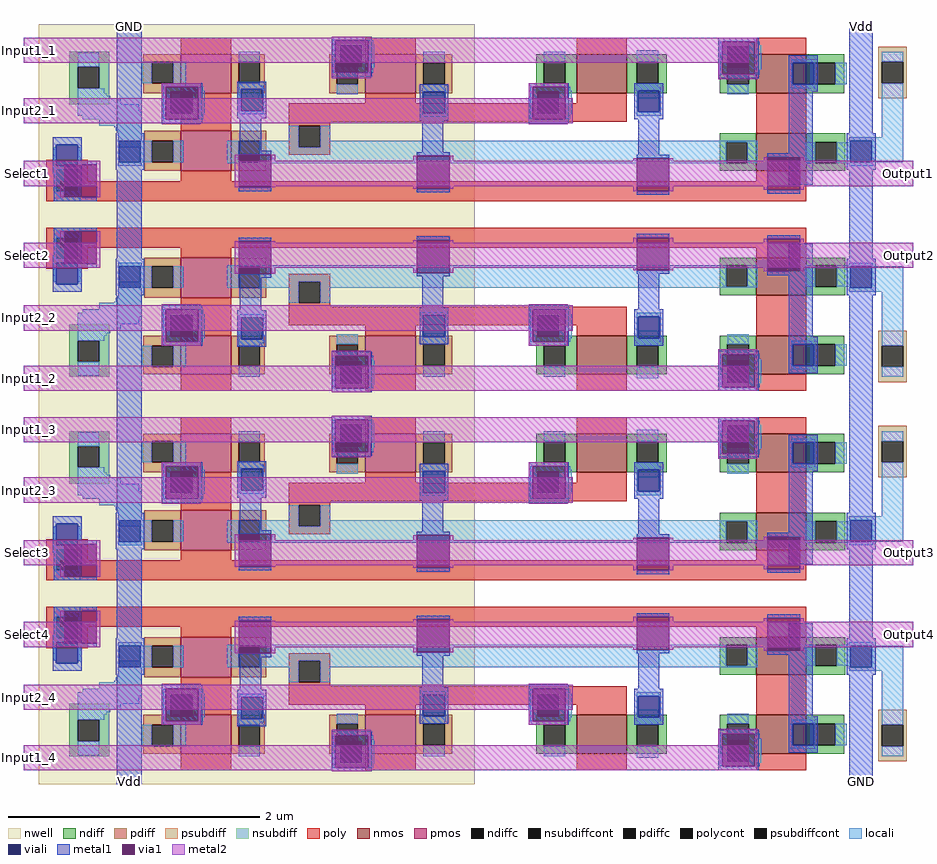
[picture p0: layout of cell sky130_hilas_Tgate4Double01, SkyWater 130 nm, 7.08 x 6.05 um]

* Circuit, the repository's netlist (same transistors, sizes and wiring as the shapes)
* Copyright 2020 The Hilas PDK Authors
* 
* This file is part of HILAS.
* 
* HILAS is free software: you can redistribute it and/or modify
* it under the terms of the GNU Lesser General Public License as published by
* the Free Software Foundation, version 3 of the License.
* 
* HILAS is distributed in the hope that it will be useful,
* but WITHOUT ANY WARRANTY; without even the implied warranty of
* MERCHANTABILITY or FITNESS FOR A PARTICULAR PURPOSE.  See the
* GNU Lesser General Public License for more details.
* 
* You should have received a copy of the GNU Lesser General Public License
* along with HILAS.  If not, see <https://www.gnu.org/licenses/>.
* 
* Licensed under the Lesser General Public License, Version 3.0 (the "License");
* you may not use this file except in compliance with the License.
* You may obtain a copy of the License at
* 
* https://www.gnu.org/licenses/lgpl-3.0.en.html
* 
* Unless required by applicable law or agreed to in writing, software
* distributed under the License is distributed on an "AS IS" BASIS,
* WITHOUT WARRANTIES OR CONDITIONS OF ANY KIND, either express or implied.
* See the License for the specific language governing permissions and
* limitations under the License.
* 
* SPDX-License-Identifier: LGPL-3.0
* 
* 

* NGSPICE file created from sky130_hilas_Tgate4Double01.ext - technology: sky130A

.subckt sky130_hilas_TgateDouble01 a_n40_n314# sky130_hilas_m12m2_4/SUB a_n468_n112#
+ output w_n502_n362# a_290_n314#
X0 output a_n196_n192# a_290_n314# sky130_hilas_m12m2_4/SUB sky130_fd_pr__nfet_01v8 w=310000u l=400000u
X1 output a_n468_n112# a_290_n314# w_n502_n362# sky130_fd_pr__pfet_01v8 w=310000u l=400000u
X2 output a_n196_n192# a_n40_n314# w_n502_n362# sky130_fd_pr__pfet_01v8 w=310000u l=400000u
X3 sky130_hilas_m12m2_4/SUB a_n468_n112# a_n196_n192# sky130_hilas_m12m2_4/SUB sky130_fd_pr__nfet_01v8 w=300000u l=400000u
X4 a_n196_n192# a_n468_n112# w_n502_n362# w_n502_n362# sky130_fd_pr__pfet_01v8 w=320000u l=400000u
X5 output a_n468_n112# a_n40_n314# sky130_hilas_m12m2_4/SUB sky130_fd_pr__nfet_01v8 w=310000u l=400000u
.ends

.subckt sky130_hilas_Tgate4Double01 VPWR INPUT1_1 INPUT2_1 SELECT1 SELECT2 INPUT2_2
+ INPUT1_2 SELECT3 INPUT2_3 SELECT4 INPUT2_4 INPUT1_4 OUTPUT4 OUTPUT3 OUTPUT2 OUTPUT1
Xsky130_hilas_TgateDouble01_0 INPUT1_1 VPWR SELECT1 OUTPUT1 VPWR INPUT2_1 sky130_hilas_TgateDouble01
Xsky130_hilas_TgateDouble01_1 INPUT1_4 VPWR SELECT4 OUTPUT4 VPWR INPUT2_4 sky130_hilas_TgateDouble01
Xsky130_hilas_TgateDouble01_2 Input1_3 VPWR SELECT3 OUTPUT3 VPWR INPUT2_3 sky130_hilas_TgateDouble01
Xsky130_hilas_TgateDouble01_3 INPUT1_2 VPWR SELECT2 OUTPUT2 VPWR INPUT2_2 sky130_hilas_TgateDouble01
.ends

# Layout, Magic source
magic
tech sky130A
<< metal1 >>
rect 38 460 58 464
rect 621 460 640 464
rect 38 -141 58 -137
rect 621 -141 640 -137
<< metal2 >>
rect -36 433 -31 453
rect -36 385 -31 405
rect -36 335 -30 355
rect 665 335 672 355
rect -36 270 -30 290
rect 666 270 672 290
rect -36 220 -31 240
rect -36 172 -31 192
rect -36 131 -31 151
rect -36 83 -31 103
rect -36 33 -30 53
rect 666 33 672 53
rect -36 -32 -30 -12
rect 666 -32 672 -12
rect -36 -82 -31 -62
rect -36 -130 -31 -110
use sky130_hilas_TgateDouble01  sky130_hilas_TgateDouble01_2
transform 1 0 227 0 -1 -19
box -263 -181 445 -29
use sky130_hilas_TgateDouble01  sky130_hilas_TgateDouble01_3
transform 1 0 227 0 1 342
box -263 -181 445 -29
use sky130_hilas_TgateDouble01  sky130_hilas_TgateDouble01_0
transform 1 0 227 0 -1 283
box -263 -181 445 -29
use sky130_hilas_TgateDouble01  sky130_hilas_TgateDouble01_1
transform 1 0 227 0 1 40
box -263 -181 445 -29
<< labels >>
rlabel metal1 621 460 640 464 0 Vdd
port 13 nsew
rlabel metal1 38 460 58 464 0 GND
port 1 nsew ground default
rlabel metal2 665 335 672 355 0 Output1
port 17 nsew
rlabel metal2 666 33 672 53 0 Output3
port 15 nsew
rlabel metal2 666 270 672 290 0 Output2
port 16 nsew
rlabel metal2 666 -32 672 -12 0 Output4
port 14 nsew
rlabel metal2 -36 335 -30 355 0 Select1
port 4 nsew
rlabel metal2 -36 270 -30 290 0 Select2
port 5 nsew
rlabel metal2 -36 33 -30 53 0 Select3
port 8 nsew
rlabel metal2 -36 -32 -30 -12 0 Select4
port 10 nsew
rlabel metal1 621 -141 640 -137 0 GND
port 1 nsew
rlabel metal1 38 -141 58 -137 0 Vdd
port 13 nsew
rlabel metal2 -36 433 -31 453 0 Input1_1
port 2 nsew
rlabel metal2 -36 385 -31 405 0 Input2_1
port 3 nsew
rlabel metal2 -36 172 -31 192 0 Input1_2
port 7 nsew
rlabel metal2 -36 220 -31 240 0 Input2_2
port 6 nsew
rlabel metal2 -36 131 -31 151 0 Input1_3
rlabel metal2 -36 83 -31 103 0 Input2_3
port 9 nsew
rlabel metal2 -36 -82 -31 -62 0 Input2_4
port 11 nsew
rlabel metal2 -36 -130 -31 -110 0 Input1_4
port 12 nsew
<< end >>

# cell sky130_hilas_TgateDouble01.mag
magic
tech sky130A
<< nwell >>
rect -251 -181 96 -29
<< nmos >>
rect 320 -94 360 -64
rect 177 -157 217 -126
rect 320 -157 360 -126
<< pmos >>
rect -138 -96 -98 -64
rect -138 -157 -98 -126
rect 9 -157 49 -126
<< ndiff >>
rect 291 -70 320 -64
rect 291 -87 296 -70
rect 313 -87 320 -70
rect 291 -94 320 -87
rect 360 -70 391 -64
rect 360 -87 367 -70
rect 384 -87 391 -70
rect 360 -94 391 -87
rect 145 -134 177 -126
rect 145 -151 151 -134
rect 168 -151 177 -134
rect 145 -157 177 -151
rect 217 -134 249 -126
rect 217 -151 225 -134
rect 242 -151 249 -134
rect 217 -157 249 -151
rect 291 -133 320 -126
rect 291 -150 297 -133
rect 314 -150 320 -133
rect 291 -157 320 -150
rect 360 -133 390 -126
rect 360 -150 366 -133
rect 383 -150 390 -133
rect 360 -157 390 -150
<< pdiff >>
rect -167 -71 -138 -64
rect -167 -88 -161 -71
rect -144 -88 -138 -71
rect -167 -96 -138 -88
rect -98 -71 -70 -64
rect -98 -88 -92 -71
rect -75 -88 -70 -71
rect -98 -96 -70 -88
rect -168 -134 -138 -126
rect -168 -151 -161 -134
rect -144 -151 -138 -134
rect -168 -157 -138 -151
rect -98 -134 -71 -126
rect -98 -151 -92 -134
rect -75 -151 -71 -134
rect -98 -157 -71 -151
rect -20 -133 9 -126
rect -20 -150 -14 -133
rect 3 -150 9 -133
rect -20 -157 9 -150
rect 49 -133 78 -126
rect 49 -150 55 -133
rect 72 -150 78 -133
rect 49 -157 78 -150
<< ndiffc >>
rect 296 -87 313 -70
rect 367 -87 384 -70
rect 151 -151 168 -134
rect 225 -151 242 -134
rect 297 -150 314 -133
rect 366 -150 383 -133
<< pdiffc >>
rect -161 -88 -144 -71
rect -92 -88 -75 -71
rect -161 -151 -144 -134
rect -92 -151 -75 -134
rect -14 -150 3 -133
rect 55 -150 72 -133
<< psubdiff >>
rect 417 -134 440 -122
rect 417 -151 420 -134
rect 437 -151 440 -134
rect 417 -163 440 -151
<< nsubdiff >>
rect -227 -130 -195 -117
rect -227 -147 -220 -130
rect -203 -147 -195 -130
rect -227 -159 -195 -147
<< psubdiffcont >>
rect 420 -151 437 -134
<< nsubdiffcont >>
rect -220 -147 -203 -130
<< poly >>
rect -234 -56 360 -40
rect -138 -64 -98 -56
rect 320 -64 360 -56
rect -52 -83 -19 -77
rect -138 -126 -98 -96
rect -52 -100 -44 -83
rect -27 -100 -19 -83
rect -52 -103 -19 -100
rect -52 -118 217 -103
rect 9 -126 49 -118
rect 177 -126 217 -118
rect 320 -126 360 -94
rect -138 -170 -98 -157
rect 9 -170 49 -157
rect 177 -170 217 -157
rect 320 -170 360 -157
<< polycont >>
rect -44 -100 -27 -83
<< locali >>
rect -101 -71 296 -70
rect -171 -83 -161 -71
rect -188 -88 -161 -83
rect -144 -88 -136 -71
rect -101 -88 -92 -71
rect -75 -83 296 -71
rect -75 -88 -44 -83
rect -188 -96 -169 -88
rect -190 -99 -169 -96
rect -191 -100 -169 -99
rect -52 -100 -44 -88
rect -27 -87 296 -83
rect 313 -87 321 -70
rect 359 -87 367 -70
rect 384 -87 394 -70
rect -27 -88 321 -87
rect -27 -100 -19 -88
rect 412 -91 437 -71
rect -203 -105 -169 -100
rect -216 -108 -169 -105
rect -220 -111 -169 -108
rect -220 -117 -171 -111
rect -220 -122 -186 -117
rect -220 -124 -194 -122
rect -92 -124 -76 -110
rect -220 -126 -197 -124
rect -220 -130 -199 -126
rect -152 -134 -134 -130
rect -220 -158 -203 -147
rect -169 -151 -161 -134
rect -144 -151 -134 -134
rect -92 -134 -75 -124
rect -92 -159 -75 -151
rect -14 -133 3 -125
rect -14 -155 3 -150
rect 55 -133 72 -124
rect 55 -159 72 -150
rect 151 -134 168 -129
rect 151 -159 168 -151
rect 225 -134 242 -122
rect 225 -160 242 -151
rect 297 -133 314 -125
rect 363 -150 366 -133
rect 383 -150 392 -133
rect 420 -134 437 -91
rect 297 -155 314 -150
rect 420 -159 437 -151
<< metal1 >>
rect -189 -181 -169 -29
rect -91 -107 -74 -80
rect 54 -105 71 -78
rect 226 -108 243 -74
rect 346 -128 365 -53
rect 394 -181 413 -29
<< metal2 >>
rect -263 -72 -202 -52
rect -93 -72 445 -52
rect -263 -122 174 -102
rect -263 -170 314 -150
use sky130_hilas_m12m2  sky130_hilas_m12m2_0
transform 1 0 -225 0 1 -62
box -9 -10 23 22
use sky130_hilas_poly2m1  sky130_hilas_poly2m1_0
transform 1 0 -236 0 1 -65
box -9 -26 24 25
use sky130_hilas_li2m1  sky130_hilas_li2m1_2
transform 1 0 -180 0 1 -86
box -10 -8 13 21
use sky130_hilas_li2m2  sky130_hilas_li2m2_0
transform 1 0 -139 0 1 -119
box -14 -15 20 18
use sky130_hilas_m12m2  sky130_hilas_m12m2_1
transform 1 0 -86 0 1 -70
box -9 -10 23 22
use sky130_hilas_li2m1  sky130_hilas_li2m1_0
transform 1 0 -83 0 1 -127
box -10 -8 13 21
use sky130_hilas_li2m2  sky130_hilas_li2m2_2
transform 1 0 -4 0 1 -156
box -14 -15 20 18
use sky130_hilas_m12m2  sky130_hilas_m12m2_2
transform 1 0 56 0 1 -69
box -9 -10 23 22
use sky130_hilas_li2m1  sky130_hilas_li2m1_3
transform 1 0 62 0 1 -125
box -10 -8 13 21
use sky130_hilas_li2m2  sky130_hilas_li2m2_1
transform 1 0 153 0 1 -119
box -14 -15 20 18
use sky130_hilas_m12m2  sky130_hilas_m12m2_4
transform 1 0 231 0 1 -67
box -9 -10 23 22
use sky130_hilas_li2m1  sky130_hilas_li2m1_4
transform 1 0 233 0 1 -126
box -10 -8 13 21
use sky130_hilas_m12m2  sky130_hilas_m12m2_3
transform 1 0 335 0 1 -68
box -9 -10 23 22
use sky130_hilas_li2m2  sky130_hilas_li2m2_3
transform 1 0 304 0 1 -155
box -14 -15 20 18
use sky130_hilas_li2m1  sky130_hilas_li2m1_5
transform 1 0 356 0 1 -148
box -10 -8 13 21
use sky130_hilas_li2m1  sky130_hilas_li2m1_1
transform 1 0 402 0 1 -86
box -10 -8 13 21
<< labels >>
rlabel metal2 439 -72 445 -52 0 output
<< end >>

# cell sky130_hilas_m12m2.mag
magic
tech sky130A
<< metal1 >>
rect -6 19 20 22
rect -6 -10 20 -7
<< via1 >>
rect -6 -7 20 19
<< metal2 >>
rect -9 -7 -6 19
rect 20 -7 23 19
<< end >>

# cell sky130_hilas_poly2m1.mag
magic
tech sky130A
<< poly >>
rect -9 17 24 25
rect -9 0 -1 17
rect 16 0 24 17
rect -9 -8 24 0
<< polycont >>
rect -1 0 16 17
<< locali >>
rect -3 17 18 25
rect -3 0 -1 17
rect 16 0 18 17
rect -3 -3 18 0
rect -3 -18 -1 -3
rect 16 -18 18 -3
<< viali >>
rect -1 -20 16 -3
<< metal1 >>
rect -3 3 19 25
rect -4 -3 19 3
rect -4 -20 -1 -3
rect 16 -20 19 -3
rect -4 -26 19 -20
<< end >>

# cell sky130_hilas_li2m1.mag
magic
tech sky130A
<< locali >>
rect -8 15 11 18
rect -8 -2 -7 15
rect 10 -2 11 15
rect -8 -5 11 -2
<< viali >>
rect -7 -2 10 15
<< metal1 >>
rect -10 15 13 21
rect -10 -2 -7 15
rect 10 -2 13 15
rect -10 -8 13 -2
<< end >>

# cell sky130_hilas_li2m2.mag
magic
tech sky130A
<< locali >>
rect -13 10 19 14
rect -13 9 20 10
rect -13 -8 -7 9
rect 10 -8 20 9
rect -13 -9 20 -8
rect -13 -12 19 -9
<< viali >>
rect -7 -8 10 9
<< metal1 >>
rect -14 14 18 17
rect -14 -12 -11 14
rect 15 -12 18 14
rect -14 -15 18 -12
<< via1 >>
rect -11 9 15 14
rect -11 -8 -7 9
rect -7 -8 10 9
rect 10 -8 15 9
rect -11 -12 15 -8
<< metal2 >>
rect -14 14 17 18
rect -14 -12 -11 14
rect 15 -12 17 14
rect -14 -15 17 -12
<< end >>
